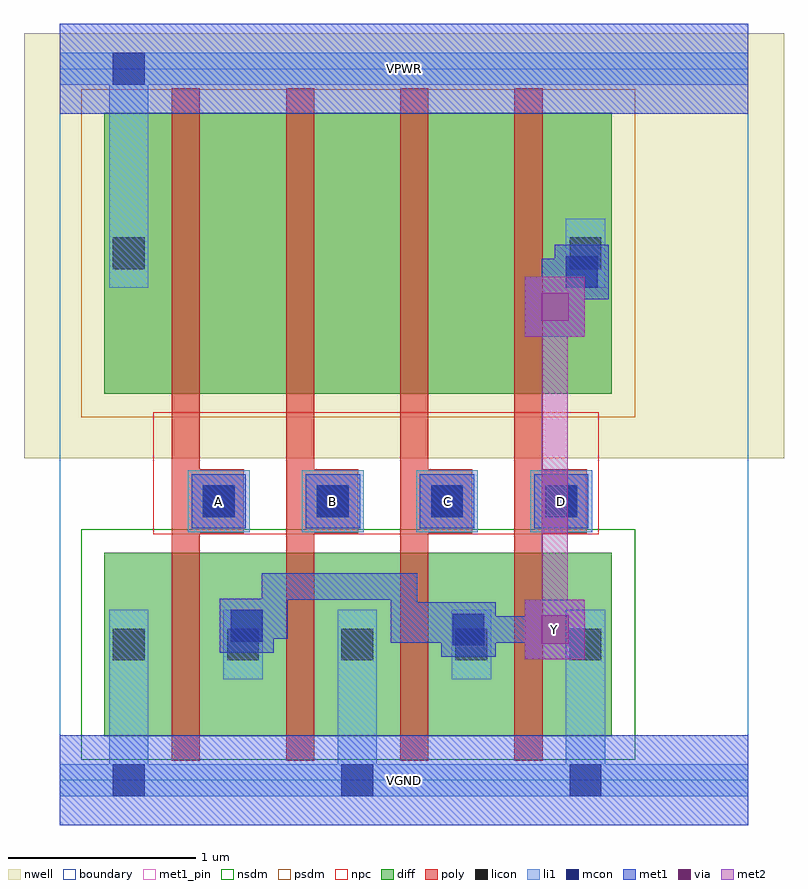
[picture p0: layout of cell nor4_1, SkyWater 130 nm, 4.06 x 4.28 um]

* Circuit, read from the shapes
.subckt nor4_1 A B C D VGND VPWR Y
XM1 Y A VGND VSUBS sky130_fd_pr__nfet_01v8 w=0.98 l=0.15
XM2 VGND B Y VSUBS sky130_fd_pr__nfet_01v8 w=0.98 l=0.15
XM3 Y C VGND VSUBS sky130_fd_pr__nfet_01v8 w=0.98 l=0.15
XM4 VGND D Y VSUBS sky130_fd_pr__nfet_01v8 w=0.98 l=0.15
XM5 n1 A VPWR n2 sky130_fd_pr__pfet_01v8 w=1.5 l=0.15
XM6 n3 B n1 n2 sky130_fd_pr__pfet_01v8 w=1.5 l=0.15
XM7 n4 C n3 n2 sky130_fd_pr__pfet_01v8 w=1.5 l=0.15
XM8 Y D n4 n2 sky130_fd_pr__pfet_01v8 w=1.5 l=0.15
.ends

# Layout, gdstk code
import gdstk
lib = gdstk.Library(unit=1e-6, precision=1e-09)
def R(c, l, rs):  # rectangles x0, y0, x1, y1
    for r in rs: c.add(gdstk.rectangle(r[:2], r[2:], *l))
def A(c, l, x, y, w, h, nx, ny, dx, dy):  # array of equal rectangles
    R(c, l, [(x+i*dx, y+j*dy, x+i*dx+w, y+j*dy+h) for i in range(nx) for j in range(ny)])
nwell = (64, 20)
diff = (65, 20)
poly = (66, 20)
licon = (66, 44)
li1 = (67, 20)
mcon = (67, 44)
met1_pin = (68, 16)
met1 = (68, 20)
via = (68, 44)
met2 = (69, 20)
nsdm = (93, 44)
psdm = (94, 20)
npc = (95, 20)
boundary = (235, 4)

nor4_1 = lib.new_cell('nor4_1')
R(nor4_1, nwell, [(-0.19,1.72,3.87,3.99), (0,1.72,3.68,3.99)])
R(nor4_1, diff, [(0.24,0.235,2.95,1.215), (0.24,2.065,2.95,3.565)])
A(nor4_1, poly, 0.6, 0.105, 0.15, 3.59, 4, 1, 0.61, 0)
A(nor4_1, poly, 0.6, 1.32, 0.385, 0.34, 4, 1, 0.61, 0)
A(nor4_1, licon, 0.285, 0.64, 0.17, 0.17, 5, 1, 0.61, 0)
A(nor4_1, licon, 0.765, 1.405, 0.17, 0.17, 4, 1, 0.61, 0)
R(nor4_1, licon, [(0.285,2.73,0.455,2.9), (2.725,2.73,2.895,2.9)])
A(nor4_1, li1, 0.265, -0.085, 0.21, 0.995, 3, 1, 1.22, 0)
A(nor4_1, li1, 0.685, 1.325, 0.33, 0.33, 4, 1, 0.61, 0)
R(nor4_1, li1, [(0,-0.085,3.68,0.085), (0.875,0.54,1.085,0.91), (2.095,0.54,2.305,0.91), (0.265,2.63,0.475,3.885), (2.705,2.63,2.915,3), (0,3.715,3.68,3.885)])
A(nor4_1, mcon, 0.285, -0.085, 0.17, 0.17, 3, 1, 1.22, 0)
A(nor4_1, mcon, 0.765, 1.405, 0.17, 0.17, 4, 1, 0.61, 0)
R(nor4_1, mcon, [(2.1,0.72,2.27,0.89), (0.915,0.74,1.085,0.91), (2.705,2.63,2.875,2.8), (0.285,3.715,0.455,3.885)])
A(nor4_1, met1_pin, 0.705, 1.345, 0.29, 0.29, 4, 1, 0.61, 0)
R(nor4_1, met1_pin, [(0,-0.24,3.68,0.24), (2.485,0.645,2.805,0.965), (0,3.56,3.68,4.04)])
A(nor4_1, met1, 0.705, 1.345, 0.29, 0.29, 4, 1, 0.61, 0)
R(nor4_1, met1, [(0,-0.24,3.68,0.24), (2.485,0.645,2.805,0.965), (2.04,0.66,2.33,0.95), (0.855,0.68,1.145,0.97), (1.77,0.735,2.255,0.875), (1.77,0.735,1.91,1.105), (1.91,0.735,2.04,0.95), (2.115,0.735,2.715,0.875), (0.93,0.755,1.22,0.895), (1.08,0.755,1.22,0.99), (1.08,0.85,1.22,1.105), (1.08,0.965,1.91,1.105), (2.485,2.37,2.805,2.69), (2.575,2.46,2.715,2.785), (2.645,2.57,2.935,2.86), (2.575,2.645,2.86,2.785), (0,3.56,3.68,4.04)])
R(nor4_1, via, [(2.57,0.73,2.72,0.88), (2.57,2.455,2.72,2.605)])
R(nor4_1, met2, [(2.485,0.645,2.805,0.965), (2.575,0.735,2.715,2.6), (2.485,2.37,2.805,2.69)])
R(nor4_1, nsdm, [(0.115,0.11,3.075,1.34)])
R(nor4_1, psdm, [(0.115,1.94,3.075,3.69)])
R(nor4_1, npc, [(0.5,1.315,2.88,1.965)])
R(nor4_1, boundary, [(0,0,3.68,3.8)])
nor4_1.add(gdstk.Label('A', (0.85,1.49), layer=68, texttype=5))
nor4_1.add(gdstk.Label('B', (1.46,1.49), layer=68, texttype=5))
nor4_1.add(gdstk.Label('C', (2.07,1.49), layer=68, texttype=5))
nor4_1.add(gdstk.Label('D', (2.68,1.49), layer=68, texttype=5))
nor4_1.add(gdstk.Label('Y', (2.645,0.805), layer=68, texttype=5))
nor4_1.add(gdstk.Label('VPWR', (1.84,3.8), layer=68, texttype=5))
nor4_1.add(gdstk.Label('VGND', (1.84,0), layer=68, texttype=5))
nor4_1.add(gdstk.Label('A', (0.85,1.49), layer=68, texttype=16))
nor4_1.add(gdstk.Label('B', (1.46,1.49), layer=68, texttype=16))
nor4_1.add(gdstk.Label('C', (2.07,1.49), layer=68, texttype=16))
nor4_1.add(gdstk.Label('D', (2.68,1.49), layer=68, texttype=16))
nor4_1.add(gdstk.Label('Y', (2.645,0.805), layer=68, texttype=16))
nor4_1.add(gdstk.Label('VPWR', (1.84,3.8), layer=68, texttype=16))
nor4_1.add(gdstk.Label('VGND', (1.84,0), layer=68, texttype=16))

lib.write_gds('nor4_1.gds')
